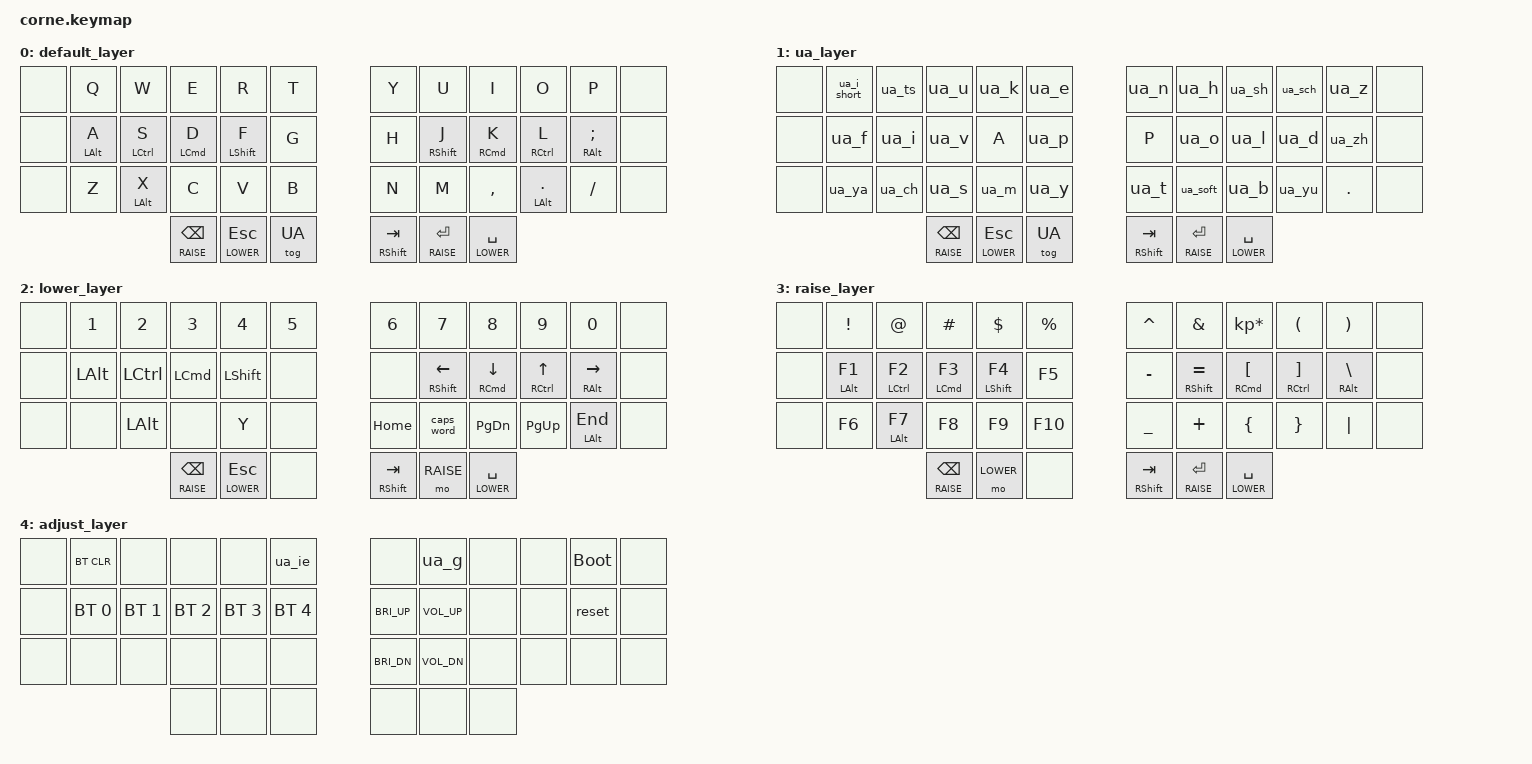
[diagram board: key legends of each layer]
/*
 * Copyright (c) 2020 The ZMK Contributors
 *
 * SPDX-License-Identifier: MIT
 */

#include <behaviors.dtsi>
#include <dt-bindings/zmk/keys.h>
#include <dt-bindings/zmk/bt.h>

#define HOST_OS 2
#include "../zmk-nodefree-config/helper.h"
#include "../zmk-nodefree-config/international_chars/ukrainian.dtsi"

#define DEFAULT 0
#define UA      1
#define LOWER   2
#define RAISE   3
#define ADJUST  4
#define LWR LOWER
#define RSE RAISE
#define ADJ ADJUST

&mt {
    quick-tap-ms = <180>;
    tapping-term-ms = <250>;
};

&lt {
    quick_tap_ms = <200>;
    tapping-term-ms = <180>;
};

// COPY_PASTE around usual pinky-driven keys
ZMK_COMBO(copy,  &kp LG(C), 25 26, ALL)
ZMK_COMBO(paste, &kp LG(V), 26 27, ALL)

// ESC is everywhere I can think of
ZMK_COMBO(escape_combo, &kp ESC, 1 2, ALL)
ZMK_COMBO(escape_combo_a, &kp ESC, 13 14, ALL)
ZMK_COMBO(escape_combo_b, &kp ESC, 14 15 16, ALL)

ZMK_COMBO(combo_lpar, &kp LPAR, 3 4, ALL, 50)
ZMK_COMBO(combo_lbrc, &kp LBRC, 4 5, ALL, 50)
ZMK_COMBO(combo_lbkt, &kp LBKT, 2 3, ALL, 50)
ZMK_COMBO(combo_rpar, &kp RPAR, 7 8, ALL, 50)
ZMK_COMBO(combo_rbrc, &kp RBRC, 6 7, ALL, 50)
ZMK_COMBO(combo_rbkt, &kp RBKT, 8 9, ALL, 50)

ZMK_COMBO(combo_quote, &kp SINGLE_QUOTE, 9 10, ALL, 50) // quotes single and coupled :love:
ZMK_COMBO(combo_ua_kh, &ua_kh, 21 22, ALL, 50) // no keys left for ua_kh, so it gets whole combo :confused:
ZMK_COMBO(combo_comma, &kp COMMA, 33 34, ALL, 50) // workaround for the comma (due to ua extended row)

// activate macOS-mode for helper script
#undef OS_UNICODE_LEAD
#undef OS_UNICODE_TRAIL
#define OS_UNICODE_LEAD &macro_press &kp LALT  // <- macOS compose sequence (must be activated in system preferences)
#define OS_UNICODE_TRAIL &macro_release &kp LALT  // <- Releasing Left-Alt terminates unicode input on macOns

/ {
        behaviors {
            //                 Key positions
            //       0  1  2  3  4  5    6  7  8  9 10 11
            //      12 13 14 15 16 17   18 19 20 21 22 23
            //      24 25 26 27 28 29   30 31 32 33 34 35
            //               36 37 38   39 40 41

            hml: homerow_mods_left {
                compatible = "zmk,behavior-hold-tap";
                label = "HOMEROW_MODS_LEFT";
                #binding-cells = <2>;
                flavor = "tap-preferred";
                tapping-term-ms = <250>;
                quick-tap-ms = <180>;
                bindings = <&kp>, <&kp>;
                hold-trigger-key-positions = <
                                         6  7  8  9 10
                       13 14 15 16 17   18 19 20 21 22
                          26            30 31 32 33 34
                             36 37 38   39 40 41
                    >;    // <---[[right-hand keys + all homerow mods + all thumbs]]
            };

            ua_hml: homerow_mods_left {
                compatible = "zmk,behavior-hold-tap";
                label = "HOMEROW_MODS_LEFT_UA";
                #binding-cells = <2>;
                flavor = "tap-preferred";
                tapping-term-ms = <250>;
                quick-tap-ms = <180>;
                hold-trigger-key-positions = <
                                         6  7  8  9 10
                       13 14 15 16      18 19 20 21 22
                          26            30 31 32 33 34
                             36 37 38   39 40 41
                    >;    // <---[[right-hand keys + all homerow mods + all thumbs]]
            };

            hmr: homerow_mods_right {
                compatible = "zmk,behavior-hold-tap";
                label = "HOMEROW_MODS_RIGHT";
                #binding-cells = <2>;
                flavor = "tap-preferred";
                tapping-term-ms = <250>;
                quick-tap-ms = <180>;
                bindings = <&kp>, <&kp>;
                hold-trigger-key-positions = <
                        1  2  3  4  5
                       13 14 15 16 17    18 19 20 21 22
                       25 26 27 28 29            33
                             36 37 38   39 40 41
                    >;    // <---[[left-hand keys + all homerow mods + all thumbs]]
            };
        };

        conditional_layers {
            compatible = "zmk,conditional-layers";
            tri_layer {
                if-layers = <LOWER RAISE>;
                then-layer = <ADJUST>;
            };
        };

        keymap {
                compatible = "zmk,keymap";

                default_layer {
                        bindings = <
   &none &kp Q        &kp W         &kp E        &kp R         &kp T             &kp Y         &kp U            &kp I           &kp O            &kp P          &none
   &none &hml LALT A  &hml LCTRL S   &hml LCMD D &hml LSHFT F  &kp G             &kp H         &hmr RSHFT J     &hmr RCMD K     &hmr RCTRL L      &hmr RALT SEMI &none
   &none &kp Z        &hml LALT X   &kp C        &kp V         &kp B             &kp N         &kp M            &kp COMMA       &hmr LALT DOT    &kp FSLH       &none
                                    &lt RSE BSPC &lt LWR ESC   &tog UA           &mt RSHFT TAB &lt RSE RET      &lt LWR SPACE
                        >;
                };
                ua_layer {
                         bindings = <
   &none &ua_i_short &ua_ts  &ua_u  &ua_k  &ua_e         &ua_n    &ua_h    &ua_sh   &ua_sch  &ua_z   &none
   &none &ua_f       &ua_i   &ua_v  &kp A  &ua_p         &kp P    &ua_o    &ua_l    &ua_d    &ua_zh  &none
   &none &ua_ya      &ua_ch  &ua_s  &ua_m  &ua_y         &ua_t    &ua_soft &ua_b    &ua_yu   &kp DOT &none
                     &lt RSE BSPC &lt LWR ESC &tog UA    &mt RSHFT TAB &lt RSE RET  &lt LWR SPACE
                        >;
            };
                lower_layer {
                        bindings = <
   &none &kp N1       &kp N2       &kp N3        &kp N4        &kp N5            &kp N6        &kp N7           &kp N8           &kp N9          &kp N0          &none
   &none &kp LALT     &kp LCTRL     &kp LCMD     &kp LSHFT     &none             &none         &hmr RSHFT LEFT  &hmr RCMD DOWN   &hmr RCTRL UP   &hmr RALT RIGHT &none
   &none &none        &kp LALT     &none         &kp Y         &none             &kp HOME      &caps_word       &kp PG_DN        &kp PG_UP       &hmr LALT END   &none
                                   &lt RSE BSPC  &lt LWR ESC   &none             &mt RSHFT TAB &mo RSE          &lt LWR SPACE
                        >;
                };
                raise_layer {
                        bindings = <
   &none &kp EXCL     &kp AT       &kp HASH      &kp DLLR      &kp PRCNT         &kp CARET     &kp AMPS         &kp KP_MULTIPLY  &kp LPAR        &kp RPAR       &none
   &none &hml LALT F1 &hml LCTRL F2 &hml LCMD F3 &hml LSHFT F4 &kp F5            &kp MINUS     &hmr RSHFT EQUAL &hmr RCMD LBKT   &hmr RCTRL RBKT &hmr RALT BSLH &none
   &none &kp F6       &hml LALT F7 &kp F8        &kp F9        &kp F10           &kp UNDER     &kp PLUS         &kp LBRC         &kp RBRC        &kp PIPE       &none
                                   &lt RSE BSPC  &mo LWR       &none             &mt RSHFT TAB &lt RSE RET      &lt LWR SPACE
                        >;
                };
                adjust_layer {
                        bindings = <
   &none &bt BT_CLR   &none        &none        &none         &ua_ie             &none         &ua_g            &none            &none           &bootloader    &none
   &none &bt BT_SEL 0 &bt BT_SEL 1 &bt BT_SEL 2  &bt BT_SEL 3  &bt BT_SEL 4      &kp C_BRI_UP  &kp C_VOL_UP     &none            &none           &reset         &none
   &none &none        &none        &none         &none         &none             &kp C_BRI_DN  &kp C_VOL_DN     &none            &none           &none          &none
                                   &none         &none         &none             &none         &none            &none
                        >;
                };
        };
};
